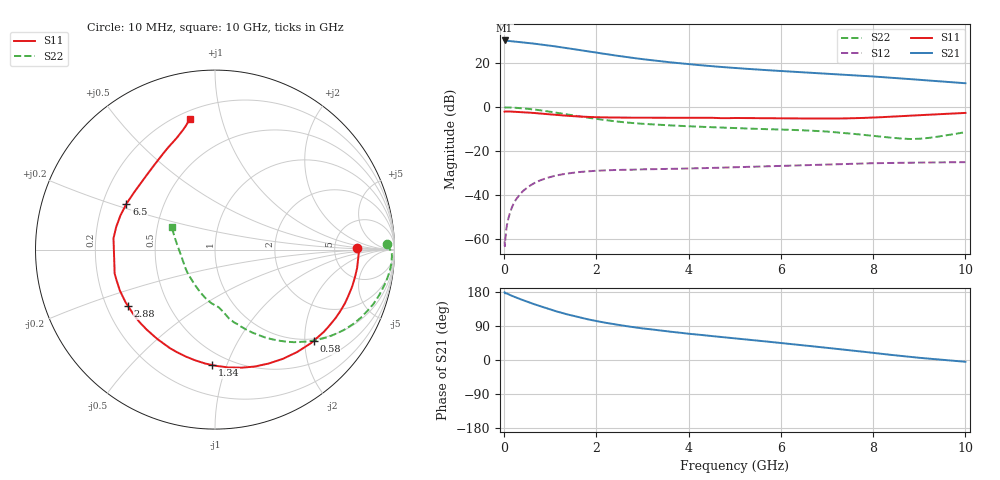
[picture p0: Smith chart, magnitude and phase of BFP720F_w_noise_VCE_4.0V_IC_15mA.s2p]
! Infineon Technologies  Discrete & RF Semiconductors
! BFP720F
! VCE =  4.0 V,  IC =  15 mA
! Common Emitter S-Parameters:  Jan 2016
# GHz  S  MA  R  50
!  f  S11  S21  S12  S22
! GHz  MAG  ANG  MAG  ANG  MAG  ANG  MAG  ANG
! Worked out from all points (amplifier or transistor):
!   233 points, 10 MHz to 10 GHz, reference 50 ohm
!   highest |S21| = 30.3 dB at 10 MHz (marker M1)
!   |S21| within 3 dB of that: start of sweep to 1.208 GHz
!   unconditionally stable (mu >= 1): start of sweep to 16.27 MHz; 6.114 GHz to end of sweep
!   at 200 MHz: K = 0.14, MSG = 36.9 dB, |S12| = -44.0 dB
!   at 1.74 GHz: K = 0.38, MSG = 27.4 dB, |S12| = -29.2 dB
!   at 10 GHz: K = 1.22, MAG = 15.1 dB, |S12| = -24.9 dB
!   lowest NFmin = 0.69 dB at 450 MHz
!   S11 on the Smith chart (normalised r, x): 10 MHz: 8.64, +0.45; 580 MHz: 0.95, -2.20; 1.34 GHz: 0.40, -0.89; 2.88 GHz: 0.29, -0.27; 6.5 GHz: 0.30, +0.22; 10 GHz: 0.25, +0.80
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0.01  0.7931 0.7  32.74 178.4  0.0009 2.0  0.9587 1.8
0.02  0.8014 -1.2  32.28 176.3  0.0008 61.8  0.9853 -1.0
0.05  0.7993 -3.6  32.27 176.0  0.0018 74.8  0.9865 -1.9
0.26  0.7862 -19.4  30.63 164.7  0.0081 76.7  0.9677 -11.1
0.45  0.7658 -33.4  29.18 156.0  0.0136 71.0  0.9333 -18.9
0.58  0.7484 -42.8  28.27 150.3  0.0171 66.5  0.9028 -24.0
0.8  0.7164 -58.2  26.63 141.0  0.0222 59.4  0.8467 -31.9
0.9  0.7016 -64.8  25.77 137.0  0.0242 56.4  0.8183 -35.2
1.1  0.6741 -77.4  24.06 129.5  0.0277 50.9  0.7604 -41.4
1.34  0.6429 -91.6  22.1 121.3  0.0309 45.0  0.6929 -48.0
1.68  0.6109 -109.3  19.5 111.0  0.0341 38.3  0.6069 -56.1
1.94  0.5949 -120.4  17.68 104.2  0.0357 34.2  0.5525 -61.3
2.2  0.587 -129.8  16.08 98.2  0.0369 30.9  0.5079 -65.7
2.6  0.5809 -141.2  13.99 90.2  0.0379 27.2  0.4551 -71.1
2.88  0.5776 -147.1  12.78 85.4  0.0384 25.6  0.4291 -73.9
3.4  0.5767 -155.2  11.02 77.7  0.0395 23.4  0.3963 -77.9
4  0.5748 -162.2  9.476 69.3  0.0406 21.8  0.3682 -80.6
5.1  0.5675 172.3  7.634 55.9  0.0434 20.4  0.3331 -84.6
6.5  0.5558 152.6  6.18 38.5  0.0483 18.1  0.2989 -94.0
6.8  0.5521 147.5  5.914 34.7  0.0493 17.3  0.2872 -97.4
8.4  0.6105 117.8  4.668 13.4  0.0544 11.8  0.2026 -137.5
10  0.7417 100.8  3.5 -4.7  0.0566 7.2  0.2712 152.8
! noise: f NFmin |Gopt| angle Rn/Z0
0.45  0.69  0.24  1  0.47
0.9  0.71  0.18  6  0.15
1.8  0.75  0.16  8  0.15
2.4  0.77  0.14  12  0.13
5.5  0.93  0.11  16  0.08
10  1.1  0.32  -85  0.21
